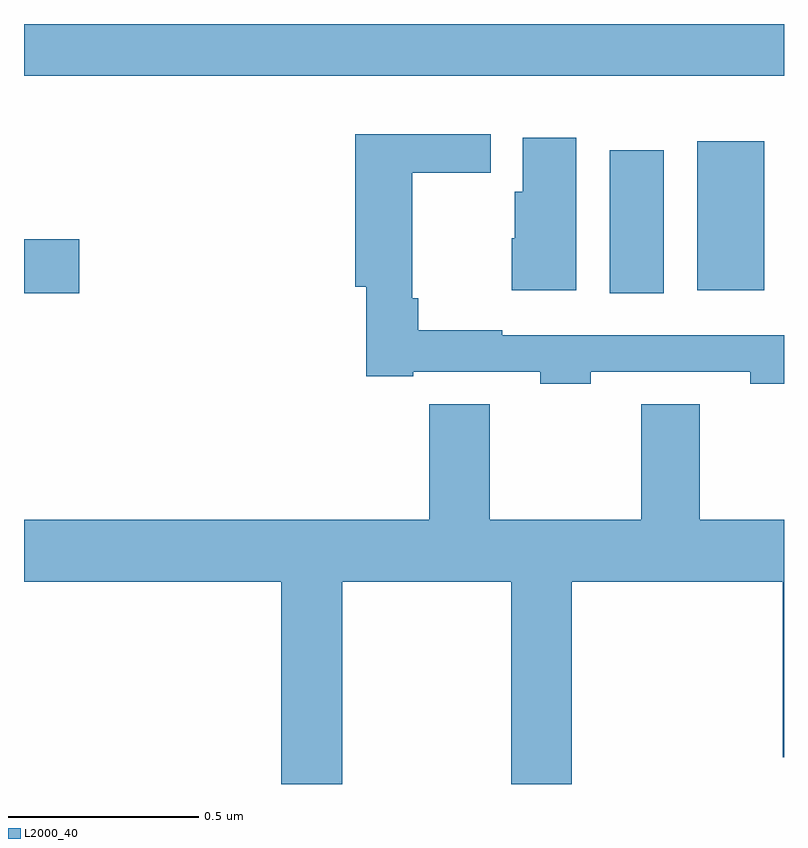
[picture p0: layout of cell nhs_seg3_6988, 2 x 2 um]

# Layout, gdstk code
import gdstk
lib = gdstk.Library(unit=1e-6, precision=1e-09)
def R(c, l, rs):  # rectangles x0, y0, x1, y1
    for r in rs: c.add(gdstk.rectangle(r[:2], r[2:], *l))
def P(c, l, *ps):  # polygons
    for p in ps: c.add(gdstk.Polygon(p, *l))
L2000_40 = (2000, 40)

nhs_seg3_6988 = lib.new_cell('nhs_seg3_6988')
R(nhs_seg3_6988, L2000_40, [(198,685.691,198.145,685.833), (199.541,685.692,199.684,686.068), (199.772,685.7,199.948,686.092), (198,686.264,200,686.4)])
P(nhs_seg3_6988, L2000_40, [(199.491,685.485),(199.911,685.485),(199.911,685.453),(200,685.453),(200,685.581),(199.259,685.581),(199.259,685.594),(199.037,685.594),(199.037,685.678),(199.022,685.678),(199.022,686.008),(199.228,686.008),(199.228,686.11),(198.872,686.11),(198.872,685.709),(198.901,685.709),(198.901,685.473),(199.024,685.473),(199.024,685.485),(199.359,685.485),(199.359,685.453),(199.491,685.453)],
  [(199.453,686.101),(199.313,686.101),(199.313,685.959),(199.292,685.959),(199.292,685.836),(199.283,685.836),(199.283,685.7),(199.453,685.7)],
  [(198.837,684.932),(199.282,684.932),(199.282,684.4),(199.442,684.4),(199.442,684.932),(199.997,684.932),(199.997,684.471),(200,684.471),(200,685.096),(199.778,685.096),(199.778,685.4),(199.624,685.4),(199.624,685.096),(199.226,685.096),(199.226,685.4),(199.067,685.4),(199.067,685.096),(198,685.096),(198,684.932),(198.677,684.932),(198.677,684.4),(198.837,684.4)])

lib.write_gds('nhs_seg3_6988.gds')
